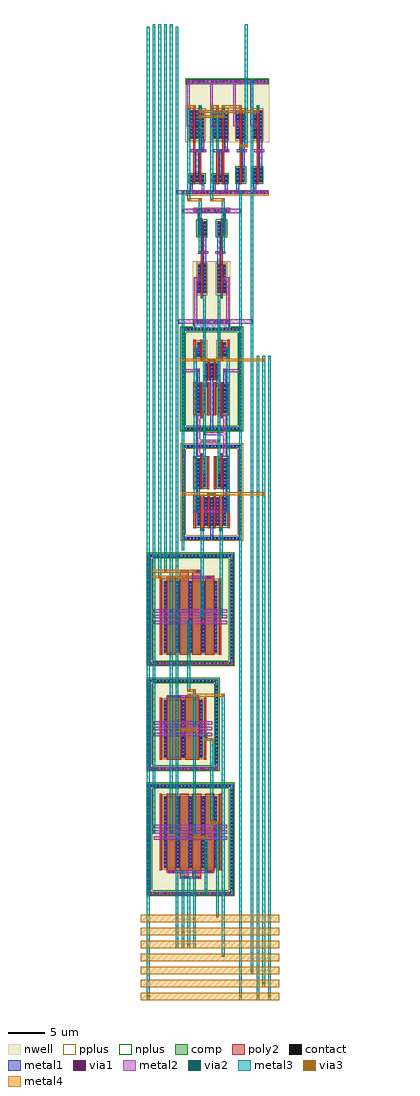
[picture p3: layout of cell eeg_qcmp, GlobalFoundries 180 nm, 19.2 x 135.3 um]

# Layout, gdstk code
from math import pi, radians
import gdstk
lib = gdstk.Library(unit=1e-6, precision=1e-09)
def R(c, l, rs):  # rectangles x0, y0, x1, y1
    for r in rs: c.add(gdstk.rectangle(r[:2], r[2:], *l))
def A(c, l, x, y, w, h, nx, ny, dx, dy):  # array of equal rectangles
    R(c, l, [(x+i*dx, y+j*dy, x+i*dx+w, y+j*dy+h) for i in range(nx) for j in range(ny)])
nwell = (21, 0)
comp = (22, 0)
poly2 = (30, 0)
pplus = (31, 0)
nplus = (32, 0)
contact = (33, 0)
metal1 = (34, 0)
via1 = (35, 0)
metal2 = (36, 0)
via2 = (38, 0)
via3 = (40, 0)
metal3 = (42, 0)
metal4 = (46, 0)

qcmp_pa = lib.new_cell('qcmp_pa')
R(qcmp_pa, nwell, [(-0.22,-0.22,12.02,15.56)])
R(qcmp_pa, comp, [(0,0,11.8,0.42), (0,0,0.42,15.34), (11.38,0,11.8,15.34), (2.17,3.67,9.63,13.67), (0,14.92,11.8,15.34)])
R(qcmp_pa, poly2, [(4.39,2.21,5.64,13.97), (6.16,2.21,7.41,13.97), (2.62,3.01,3.87,13.97), (7.93,3.01,9.18,13.97), (1.65,3.37,1.93,13.97), (9.87,3.37,10.15,13.97)])
R(qcmp_pa, pplus, [(1.99,3.43,9.81,13.91)])
R(qcmp_pa, nplus, [(-0.16,-0.16,11.96,0.58), (-0.16,-0.16,0.58,15.5), (11.22,-0.16,11.96,15.5), (-0.16,14.76,11.96,15.5)])
A(qcmp_pa, contact, 0.29, 0.1, 0.22, 0.22, 23, 2, 0.5, 14.92)
A(qcmp_pa, contact, 0.1, 0.81, 0.22, 0.22, 1, 28, 0, 0.5)
A(qcmp_pa, contact, 11.48, 0.81, 0.22, 0.22, 1, 28, 0, 0.5)
A(qcmp_pa, contact, 2.25, 3.81, 0.22, 0.22, 5, 20, 1.77, 0.5)
R(qcmp_pa, contact, [(4.655,2.28,4.875,2.5), (5.155,2.28,5.375,2.5), (6.425,2.28,6.645,2.5), (6.925,2.28,7.145,2.5), (2.885,3.08,3.105,3.3), (3.385,3.08,3.605,3.3), (8.195,3.08,8.415,3.3), (8.695,3.08,8.915,3.3)])
A(qcmp_pa, metal1, 2.17, 3.73, 0.38, 9.88, 5, 1, 1.77, 0)
R(qcmp_pa, metal1, [(0,0,11.8,0.42), (0,0,0.42,15.34), (11.38,0,11.8,15.34), (4.575,2.2,7.225,2.58), (2.805,3,8.995,3.38), (0,14.92,11.8,15.34)])
A(qcmp_pa, via1, 0.27, 0.08, 0.26, 0.26, 14, 1, 0.8, 0)
R(qcmp_pa, via1, [(4.885,2.26,5.145,2.52), (6.655,2.26,6.915,2.52), (3.115,3.06,3.375,3.32), (8.425,3.06,8.685,3.32), (4,7.74,4.26,8), (7.54,7.74,7.8,8), (2.23,8.54,2.49,8.8), (9.31,8.54,9.57,8.8), (5.77,9.34,6.03,9.6)])
A(qcmp_pa, metal2, 0.82, 7.62, 10.16, 0.5, 1, 3, 0, 0.8)
R(qcmp_pa, metal2, [(0,0,11.8,0.42), (4.575,2.2,7.225,2.58), (2.805,3,8.995,3.38)])

qcmp_tail = lib.new_cell('qcmp_tail')
R(qcmp_tail, nwell, [(-0.22,-0.22,9.98,12.76)])
R(qcmp_tail, comp, [(0,0,9.76,0.42), (0,0,0.42,12.54), (9.34,0,9.76,12.54), (2.17,1.67,7.59,9.67), (0,12.12,9.76,12.54)])
R(qcmp_tail, poly2, [(1.65,1.37,1.93,9.97), (2.62,1.37,4.62,10.33), (5.14,1.37,7.14,10.33), (7.83,1.37,8.11,9.97)])
R(qcmp_tail, pplus, [(1.99,1.43,7.77,9.91)])
R(qcmp_tail, nplus, [(-0.16,-0.16,9.92,0.58), (-0.16,-0.16,0.58,12.7), (9.18,-0.16,9.92,12.7), (-0.16,11.96,9.92,12.7)])
A(qcmp_tail, contact, 0.27, 0.1, 0.22, 0.22, 19, 2, 0.5, 12.12)
A(qcmp_tail, contact, 0.1, 0.91, 0.22, 0.22, 1, 22, 0, 0.5)
A(qcmp_tail, contact, 9.44, 0.91, 0.22, 0.22, 1, 22, 0, 0.5)
A(qcmp_tail, contact, 2.25, 1.81, 0.22, 0.22, 3, 16, 2.52, 0.5)
A(qcmp_tail, contact, 2.76, 10.04, 0.22, 0.22, 4, 1, 0.5, 0)
A(qcmp_tail, contact, 5.28, 10.04, 0.22, 0.22, 4, 1, 0.5, 0)
A(qcmp_tail, metal1, 2.17, 1.73, 0.38, 7.88, 3, 1, 2.52, 0)
R(qcmp_tail, metal1, [(0,0,9.76,0.42), (0,0,0.42,12.54), (9.34,0,9.76,12.54), (2.68,9.96,7.08,10.34), (0,12.12,9.76,12.54)])
A(qcmp_tail, via1, 0.27, 0.08, 0.26, 0.26, 12, 1, 0.8, 0)
R(qcmp_tail, via1, [(4.75,4.74,5.01,5), (2.23,5.54,2.49,5.8), (7.27,6.34,7.53,6.6), (3.49,10.02,3.75,10.28), (6.01,10.02,6.27,10.28)])
A(qcmp_tail, metal2, 0.82, 4.62, 8.12, 0.5, 1, 3, 0, 0.8)
R(qcmp_tail, metal2, [(0,0,9.76,0.42), (2.68,9.96,7.08,10.34)])

qcmp_pb = lib.new_cell('qcmp_pb')
R(qcmp_pb, nwell, [(-0.22,-0.22,12.02,15.56)])
R(qcmp_pb, comp, [(0,0,11.8,0.42), (0,0,0.42,15.34), (11.38,0,11.8,15.34), (2.17,1.67,9.63,11.67), (0,14.92,11.8,15.34)])
R(qcmp_pb, poly2, [(1.65,1.37,1.93,11.97), (2.62,1.37,3.87,12.33), (4.39,1.37,5.64,13.13), (6.16,1.37,7.41,13.13), (7.93,1.37,9.18,12.33), (9.87,1.37,10.15,11.97)])
R(qcmp_pb, pplus, [(1.99,1.43,9.81,11.91)])
R(qcmp_pb, nplus, [(-0.16,-0.16,11.96,0.58), (-0.16,-0.16,0.58,15.5), (11.22,-0.16,11.96,15.5), (-0.16,14.76,11.96,15.5)])
A(qcmp_pb, contact, 0.29, 0.1, 0.22, 0.22, 23, 2, 0.5, 14.92)
A(qcmp_pb, contact, 0.1, 0.81, 0.22, 0.22, 1, 28, 0, 0.5)
A(qcmp_pb, contact, 11.48, 0.81, 0.22, 0.22, 1, 28, 0, 0.5)
A(qcmp_pb, contact, 2.25, 1.81, 0.22, 0.22, 5, 20, 1.77, 0.5)
R(qcmp_pb, contact, [(2.885,12.04,3.105,12.26), (3.385,12.04,3.605,12.26), (8.195,12.04,8.415,12.26), (8.695,12.04,8.915,12.26), (4.655,12.84,4.875,13.06), (5.155,12.84,5.375,13.06), (6.425,12.84,6.645,13.06), (6.925,12.84,7.145,13.06)])
A(qcmp_pb, metal1, 2.17, 1.73, 0.38, 9.88, 5, 1, 1.77, 0)
R(qcmp_pb, metal1, [(0,0,11.8,0.42), (0,0,0.42,15.34), (11.38,0,11.8,15.34), (2.805,11.96,8.995,12.34), (4.575,12.76,7.225,13.14), (0,14.92,11.8,15.34)])
A(qcmp_pb, via1, 0.27, 0.08, 0.26, 0.26, 14, 1, 0.8, 0)
R(qcmp_pb, via1, [(4,5.74,4.26,6), (7.54,5.74,7.8,6), (2.23,6.54,2.49,6.8), (9.31,6.54,9.57,6.8), (5.77,7.34,6.03,7.6), (3.115,12.02,3.375,12.28), (8.425,12.02,8.685,12.28), (4.885,12.82,5.145,13.08), (6.655,12.82,6.915,13.08)])
A(qcmp_pb, metal2, 0.82, 5.62, 10.16, 0.5, 1, 3, 0, 0.8)
R(qcmp_pb, metal2, [(0,0,11.8,0.42), (2.805,11.96,8.995,12.34), (4.575,12.76,7.225,13.14)])

eeg_qinv = lib.new_cell('eeg_qinv')
R(eeg_qinv, nwell, [(-0.2,7.25,2.6,16.1)])
R(eeg_qinv, comp, [(0,0,2.4,0.44), (0.45,1.7,1.63,3.7), (0.45,7.7,1.63,11.7), (0,15.46,2.4,15.9)])
R(eeg_qinv, poly2, [(0.9,1.4,1.18,7.7), (0.9,7.4,1.18,12.36), (0.86,12,1.22,12.36)])
R(eeg_qinv, pplus, [(-0.16,-0.16,2.56,0.6), (0.27,7.46,1.81,11.94)])
R(eeg_qinv, nplus, [(0.27,1.46,1.81,3.94), (-0.16,15.3,2.56,16.06)])
A(eeg_qinv, contact, 0.34, 0.14, 0.22, 0.22, 4, 2, 0.5, 15.4)
A(eeg_qinv, contact, 0.53, 1.84, 0.22, 0.22, 1, 4, 0, 0.5)
A(eeg_qinv, contact, 1.33, 1.84, 0.22, 0.22, 1, 4, 0, 0.5)
A(eeg_qinv, contact, 0.53, 7.84, 0.22, 0.22, 1, 8, 0, 0.5)
A(eeg_qinv, contact, 1.33, 7.84, 0.22, 0.22, 1, 8, 0, 0.5)
R(eeg_qinv, contact, [(0.93,12.07,1.15,12.29)])
R(eeg_qinv, metal1, [(0,0,2.4,0.6), (0,0,2.4,0.44), (0.45,0.3,0.83,3.64), (1.25,1.76,1.63,6.25), (1.25,5.85,1.63,11.64), (0.45,7.76,0.83,11.64), (0.85,11.99,1.23,12.37), (0,15.3,2.4,15.9), (0,15.46,2.4,15.9)])
A(eeg_qinv, via1, 0.15, 0.17, 0.26, 0.26, 3, 2, 0.62, 15.3)
R(eeg_qinv, via1, [(1.31,5.92,1.57,6.18), (1.31,5.92,1.57,6.18), (0.51,9.57,0.77,9.83), (0.91,12.05,1.17,12.31)])
R(eeg_qinv, metal2, [(0,0,2.4,0.6), (0.5,5.85,1.9,6.25), (0,9.45,0.83,9.95), (0,9.45,0.4,15.3), (0.85,11.99,1.23,12.37), (0,15.3,2.4,15.9)])

qcmp_latch = lib.new_cell('qcmp_latch')
R(qcmp_latch, nwell, [(-4.4,14.96,4.4,29.57), (-2.6,29.35,2.6,30.25)])
R(qcmp_latch, comp, [(-4.18,0,4.18,0.42), (-4.18,0,-3.76,13.18), (3.76,0,4.18,13.18), (-2.01,1.89,2.01,5.89), (-2.01,7.29,-0.83,11.29), (0.83,7.29,2.01,11.29), (-4.18,12.76,4.18,13.18), (-4.18,15.18,4.18,15.6), (-4.18,15.18,-3.76,29.35), (3.76,15.18,4.18,29.35), (-2.01,17.52,-0.83,21.52), (0.83,17.52,2.01,21.52), (-0.99,22.42,0.99,24.42), (-2.01,25.38,-0.83,27.38), (0.83,25.38,2.01,27.38), (-4.18,28.93,4.18,29.35)])
R(qcmp_latch, poly2, [(-1.56,1.23,-1.06,6.19), (1.06,1.23,1.56,6.19), (-2.53,1.59,-2.25,6.19), (-0.54,1.59,-0.26,6.55), (0.26,1.59,0.54,6.55), (2.25,1.59,2.53,6.19), (-0.58,6.19,-0.22,6.55), (0.22,6.19,0.58,6.55), (-2.53,6.99,-2.25,11.59), (-1.56,6.99,-1.28,11.95), (-0.59,6.99,-0.31,11.59), (0.31,6.99,0.59,11.59), (1.28,6.99,1.56,11.95), (2.25,6.99,2.53,11.59), (-1.6,11.59,-1.24,11.95), (1.24,11.59,1.6,11.95), (-1.6,16.86,-1.24,17.22), (-1.56,16.86,-1.28,21.82), (1.24,16.86,1.6,17.22), (1.28,16.86,1.56,21.82), (-2.53,17.22,-2.25,21.82), (-0.59,17.22,-0.31,21.82), (0.31,17.22,0.59,21.82), (2.25,17.22,2.53,21.82), (-0.54,22.12,-0.26,25.08), (0.26,22.12,0.54,25.08), (-1.6,24.72,-1.24,25.08), (-1.56,24.72,-1.28,27.68), (-0.58,24.72,-0.22,25.08), (0.22,24.72,0.58,25.08), (1.24,24.72,1.6,25.08), (1.28,24.72,1.56,27.68), (-2.53,25.08,-2.25,27.68), (2.25,25.08,2.53,27.68)])
R(qcmp_latch, pplus, [(-4.34,-0.16,4.34,0.58), (-4.34,-0.16,-3.6,13.34), (3.6,-0.16,4.34,13.34), (-4.34,12.6,4.34,13.34), (-2.19,17.28,-0.65,21.76), (0.65,17.28,2.19,21.76), (-1.17,22.18,1.17,24.66), (-2.19,25.14,-0.65,27.62), (0.65,25.14,2.19,27.62)])
R(qcmp_latch, nplus, [(-2.19,1.65,2.19,6.13), (-2.19,7.05,-0.65,11.53), (0.65,7.05,2.19,11.53), (-4.34,15.02,4.34,15.76), (-4.34,15.02,-3.6,29.51), (3.6,15.02,4.34,29.51), (-4.34,28.77,4.34,29.51), (-2.56,29.35,2.56,29.95)])
A(qcmp_latch, contact, -3.86, 0.1, 0.22, 0.22, 16, 2, 0.5, 12.76)
A(qcmp_latch, contact, -4.08, 0.73, 0.22, 0.22, 1, 24, 0, 0.5)
A(qcmp_latch, contact, 3.86, 0.73, 0.22, 0.22, 1, 24, 0, 0.5)
A(qcmp_latch, contact, -1.93, 2.03, 0.22, 0.22, 1, 8, 0, 0.5)
A(qcmp_latch, contact, -0.91, 2.03, 0.22, 0.22, 3, 8, 0.8, 0.5)
A(qcmp_latch, contact, 1.71, 2.03, 0.22, 0.22, 1, 8, 0, 0.5)
A(qcmp_latch, contact, -1.93, 7.43, 0.22, 0.22, 1, 8, 0, 0.5)
A(qcmp_latch, contact, -1.13, 7.43, 0.22, 0.22, 1, 8, 0, 0.5)
A(qcmp_latch, contact, 0.91, 7.43, 0.22, 0.22, 1, 8, 0, 0.5)
A(qcmp_latch, contact, 1.71, 7.43, 0.22, 0.22, 1, 8, 0, 0.5)
A(qcmp_latch, contact, -3.86, 15.28, 0.22, 0.22, 16, 2, 0.5, 13.75)
A(qcmp_latch, contact, -4.08, 15.905, 0.22, 0.22, 1, 26, 0, 0.5)
A(qcmp_latch, contact, 3.86, 15.905, 0.22, 0.22, 1, 26, 0, 0.5)
A(qcmp_latch, contact, -1.93, 17.66, 0.22, 0.22, 1, 8, 0, 0.5)
A(qcmp_latch, contact, -1.13, 17.66, 0.22, 0.22, 1, 8, 0, 0.5)
A(qcmp_latch, contact, 0.91, 17.66, 0.22, 0.22, 1, 8, 0, 0.5)
A(qcmp_latch, contact, 1.71, 17.66, 0.22, 0.22, 1, 8, 0, 0.5)
A(qcmp_latch, contact, -0.91, 22.56, 0.22, 0.22, 3, 4, 0.8, 0.5)
A(qcmp_latch, contact, -1.93, 25.52, 0.22, 0.22, 1, 4, 0, 0.5)
A(qcmp_latch, contact, -1.13, 25.52, 0.22, 0.22, 1, 4, 0, 0.5)
A(qcmp_latch, contact, 0.91, 25.52, 0.22, 0.22, 1, 4, 0, 0.5)
A(qcmp_latch, contact, 1.71, 25.52, 0.22, 0.22, 1, 4, 0, 0.5)
R(qcmp_latch, contact, [(-1.42,1.3,-1.2,1.52), (1.2,1.3,1.42,1.52), (-0.51,6.26,-0.29,6.48), (0.29,6.26,0.51,6.48), (-1.53,11.66,-1.31,11.88), (1.31,11.66,1.53,11.88), (-1.53,16.93,-1.31,17.15), (1.31,16.93,1.53,17.15), (-1.53,24.79,-1.31,25.01), (-0.51,24.79,-0.29,25.01), (0.29,24.79,0.51,25.01), (1.31,24.79,1.53,25.01)])
A(qcmp_latch, metal1, -4.16, 1.31, 0.38, 0.38, 1, 3, 0, 5.09)
A(qcmp_latch, metal1, 3.78, 1.31, 0.38, 0.38, 1, 3, 0, 5.09)
A(qcmp_latch, metal1, -0.99, 1.95, 0.38, 3.88, 3, 1, 0.8, 0)
A(qcmp_latch, metal1, -0.99, 22.48, 0.38, 1.88, 3, 1, 0.8, 0)
A(qcmp_latch, metal1, -1.61, 24.71, 0.38, 0.38, 3, 1, 1.42, 0)
R(qcmp_latch, metal1, [(-4.18,0,4.18,0.42), (-4.18,0,-3.76,13.18), (-0.19,0,0.19,2.15), (3.76,0,4.18,13.18), (-1.5,1.22,-1.12,1.6), (-1.5,1.22,-1.12,1.6), (1.12,1.22,1.5,1.6), (1.12,1.22,1.5,1.6), (-2.01,1.95,-1.63,5.83), (1.63,1.95,2.01,5.83), (-2.01,3.7,-1.63,4.08), (1.63,3.7,2.01,4.08), (-2.01,5.63,-1.63,7.55), (1.63,5.63,2.01,7.55), (-0.59,6.18,0.59,6.56), (-0.19,6.18,0.19,6.56), (-2.01,7.35,-1.63,11.23), (-1.21,7.35,-0.83,11.23), (0.83,7.35,1.21,11.23), (1.63,7.35,2.01,11.23), (-1.21,9.1,-0.83,9.48), (0.83,9.1,1.21,9.48), (-1.61,11.58,-1.23,11.96), (-1.61,11.58,-1.23,11.96), (1.23,11.58,1.61,11.96), (1.23,11.58,1.61,11.96), (-4.18,12.76,4.18,13.18), (-4.18,15.18,4.18,15.6), (-4.18,15.18,-3.76,29.35), (-0.19,15.18,0.19,22.68), (3.76,15.18,4.18,29.35), (-1.61,16.85,-1.23,17.23), (-1.61,16.85,-1.23,17.23), (1.23,16.85,1.61,17.23), (1.23,16.85,1.61,17.23), (-2.01,17.58,-1.63,21.46), (-1.21,17.58,-0.83,21.46), (0.83,17.58,1.21,21.46), (1.63,17.58,2.01,21.46), (-1.21,19.33,-0.83,19.71), (0.83,19.33,1.21,19.71), (-1.21,21.16,-0.61,22.78), (0.61,21.16,1.21,22.78), (-2.01,21.26,-1.63,23.67), (1.63,21.26,2.01,23.67), (-4.16,23.23,-3.78,23.61), (-2.01,23.23,-1.63,23.61), (1.63,23.23,2.01,23.61), (3.78,23.23,4.16,23.61), (-1.61,24.71,1.61,25.09), (-0.59,24.71,0.59,25.09), (-2.01,25.44,-1.63,27.32), (-1.21,25.44,-0.83,27.32), (0.83,25.44,1.21,27.32), (1.63,25.44,2.01,27.32), (-2.01,26.19,-1.63,26.57), (1.63,26.19,2.01,26.57), (-1.21,27.12,-0.83,29.35), (0.83,27.12,1.21,29.35), (-4.18,28.93,4.18,29.35), (-2.4,29.15,2.4,30.25)])
A(qcmp_latch, via1, -4.1, 1.37, 0.26, 0.26, 1, 3, 0, 5.09)
A(qcmp_latch, via1, 3.84, 1.37, 0.26, 0.26, 1, 3, 0, 5.09)
R(qcmp_latch, via1, [(-1.44,1.28,-1.18,1.54), (1.18,1.28,1.44,1.54), (-1.95,3.76,-1.69,4.02), (-0.93,3.76,-0.67,4.02), (0.67,3.76,0.93,4.02), (1.69,3.76,1.95,4.02), (-0.13,6.24,0.13,6.5), (-1.15,9.16,-0.89,9.42), (0.89,9.16,1.15,9.42), (-1.55,11.64,-1.29,11.9), (1.29,11.64,1.55,11.9), (-1.55,16.91,-1.29,17.17), (1.29,16.91,1.55,17.17), (-1.15,19.39,-0.89,19.65), (0.89,19.39,1.15,19.65), (-4.1,23.29,-3.84,23.55), (-1.95,23.29,-1.69,23.55), (1.69,23.29,1.95,23.55), (3.84,23.29,4.1,23.55), (-0.13,24.77,0.13,25.03), (-1.95,26.25,-1.69,26.51), (1.69,26.25,1.95,26.51)])
R(qcmp_latch, metal2, [(-1.5,1.22,-1.12,1.6), (-1.5,1.22,-1.12,1.6), (1.12,1.22,1.5,1.6), (1.12,1.22,1.5,1.6), (-4.16,1.31,-3.78,1.69), (-4.16,1.31,-3.78,1.69), (3.78,1.31,4.16,1.69), (3.78,1.31,4.16,1.69), (-0.99,3.64,0.99,4.14), (-2.49,3.7,-2.11,4.08), (-2.49,3.7,-1.63,4.08), (-2.01,3.7,-1.63,4.08), (1.63,3.7,2.01,4.08), (1.63,3.7,2.49,4.08), (2.11,3.7,2.49,4.08), (-0.19,6.18,0.19,6.56), (-0.19,6.18,0.19,6.56), (-4.16,6.4,-3.78,6.78), (-4.16,6.4,-3.78,6.78), (3.78,6.4,4.16,6.78), (3.78,6.4,4.16,6.78), (-1.21,9.1,-0.83,9.48), (-1.21,9.1,-0.83,9.48), (0.83,9.1,1.21,9.48), (0.83,9.1,1.21,9.48), (-4.16,11.49,-3.78,11.87), (-4.16,11.49,-3.78,11.87), (3.78,11.49,4.16,11.87), (3.78,11.49,4.16,11.87), (-1.99,11.58,-1.23,11.96), (-1.99,11.58,-1.61,17.23), (-1.61,11.58,-1.23,11.96), (1.23,11.58,1.61,11.96), (1.23,11.58,1.99,11.96), (1.61,11.58,1.99,17.23), (-1.99,13.49,1.21,13.87), (0.83,13.49,1.21,13.87), (-1.21,14.49,-0.83,14.87), (-1.21,14.49,1.99,14.87), (-1.99,16.85,-1.23,17.23), (-1.61,16.85,-1.23,17.23), (1.23,16.85,1.61,17.23), (1.23,16.85,1.99,17.23), (-1.21,19.33,-0.83,19.71), (-1.21,19.33,-0.83,19.71), (0.83,19.33,1.21,19.71), (0.83,19.33,1.21,19.71), (-4.16,23.23,-3.78,23.61), (-4.16,23.23,-1.63,23.61), (-2.01,23.23,-1.63,23.61), (1.63,23.23,2.01,23.61), (1.63,23.23,4.16,23.61), (3.78,23.23,4.16,23.61), (-0.19,24.71,0.19,25.09), (-0.19,24.71,0.19,25.09), (-2.49,26.19,-2.11,26.57), (-2.49,26.19,-1.63,26.57), (-2.01,26.19,-1.63,26.57), (1.63,26.19,2.01,26.57), (1.63,26.19,2.49,26.57), (2.11,26.19,2.49,26.57), (-4.6,29.95,-2.4,30.55), (2.4,29.95,4.6,30.55), (4.6,29.95,5.79,30.55), (5.41,30.06,5.79,30.44), (-1.55,33.48,-1.17,33.86), (1.17,33.48,1.55,33.86), (-1.79,39.61,-1.41,39.99), (1.41,39.61,1.79,39.99), (-4.19,45.25,4.19,45.85), (-4.19,45.36,-3.81,45.74), (3.81,45.36,4.19,45.74)])
A(qcmp_latch, via2, -4.1, 1.37, 0.26, 0.26, 1, 3, 0, 5.09)
A(qcmp_latch, via2, 3.84, 1.37, 0.26, 0.26, 1, 3, 0, 5.09)
R(qcmp_latch, via2, [(-2.43,3.76,-2.17,4.02), (2.17,3.76,2.43,4.02), (-0.13,6.24,0.13,6.5), (-1.15,9.16,-0.89,9.42), (0.89,9.16,1.15,9.42), (0.89,13.55,1.15,13.81), (-1.15,14.55,-0.89,14.81), (-1.15,19.39,-0.89,19.65), (0.89,19.39,1.15,19.65), (-0.13,24.77,0.13,25.03), (-2.43,26.25,-2.17,26.51), (2.17,26.25,2.43,26.51), (5.47,30.12,5.73,30.38), (-1.49,33.54,-1.23,33.8), (1.23,33.54,1.49,33.8), (-1.73,39.67,-1.47,39.93), (1.47,39.67,1.73,39.93), (-4.13,45.42,-3.87,45.68), (3.87,45.42,4.13,45.68)])
R(qcmp_latch, via3, [(-0.13,6.24,0.13,6.5), (-0.13,24.77,0.13,25.03)])
A(qcmp_latch, metal3, -4.16, 1.31, 0.38, 0.38, 1, 3, 0, 5.09)
A(qcmp_latch, metal3, 3.78, 1.31, 0.38, 0.38, 1, 3, 0, 5.09)
R(qcmp_latch, metal3, [(-4.19,-1.5,-3.81,45.85), (3.81,-1.5,4.19,45.85), (-2.49,3.7,-2.11,4.08), (-2.49,3.7,-2.11,26.57), (2.11,3.7,2.49,4.08), (2.11,3.7,2.49,26.57), (-0.19,6.18,0.19,6.56), (-0.19,6.18,0.19,6.56), (-1.21,9.1,-0.83,9.48), (-1.21,9.1,-0.83,33.86), (0.83,9.1,1.21,9.48), (0.83,9.1,1.21,33.86), (0.83,13.49,1.21,13.87), (-1.21,14.49,-0.83,14.87), (-1.21,19.33,-0.83,19.71), (0.83,19.33,1.21,19.71), (-0.19,24.71,0.19,25.09), (-0.19,24.71,0.19,25.09), (-2.49,26.19,-2.11,26.57), (2.11,26.19,2.49,26.57), (5.41,30.06,5.79,30.44), (-1.55,33.48,-1.17,33.86), (-1.55,33.48,-0.83,33.86), (0.83,33.48,1.55,33.86), (1.17,33.48,1.55,33.86), (-1.79,39.61,-1.41,39.99), (-1.79,39.61,-1.41,47.35), (1.41,39.61,1.79,39.99), (1.41,39.61,1.79,47.35), (-4.19,45.36,-3.81,45.74), (3.81,45.36,4.19,45.74)])
R(qcmp_latch, metal4, [(-4.19,6.18,4.19,6.56), (-0.19,6.18,0.19,6.56), (-4.19,24.71,4.19,25.09), (-0.19,24.71,0.19,25.09)])
qcmp_latch.add(gdstk.Reference(eeg_qinv, (-2.4,45.85), x_reflection=True))
qcmp_latch.add(gdstk.Reference(eeg_qinv, (2.4,45.85), rotation=pi))

eeg_qnor2 = lib.new_cell('eeg_qnor2')
R(eeg_qnor2, nwell, [(-0.2,7.25,3.4,16.1)])
R(eeg_qnor2, comp, [(0,0,3.2,0.44), (0.45,1.7,2.43,2.7), (0.45,7.7,2.43,11.7), (0,15.46,3.2,15.9)])
R(eeg_qnor2, poly2, [(0.9,1.4,1.18,7.7), (1.7,1.4,1.98,7.7), (0.9,7.4,1.18,12.36), (1.7,7.4,1.98,12.36), (0.86,12,1.22,12.36), (1.66,12,2.02,12.36)])
R(eeg_qnor2, pplus, [(-0.16,-0.16,3.36,0.6), (0.27,7.46,2.61,11.94)])
R(eeg_qnor2, nplus, [(0.27,1.46,2.61,2.94), (-0.16,15.3,3.36,16.06)])
A(eeg_qnor2, contact, 0.24, 0.14, 0.22, 0.22, 6, 2, 0.5, 15.4)
A(eeg_qnor2, contact, 0.53, 1.84, 0.22, 0.22, 3, 2, 0.8, 0.5)
A(eeg_qnor2, contact, 0.53, 7.84, 0.22, 0.22, 3, 8, 0.8, 0.5)
R(eeg_qnor2, contact, [(0.93,12.07,1.15,12.29), (1.73,12.07,1.95,12.29)])
R(eeg_qnor2, metal1, [(0,0,3.2,0.6), (0,0,3.2,0.44), (0.45,0.3,0.83,2.64), (2.05,0.3,2.43,2.64), (1.25,1.76,1.63,6.25), (2.05,5.85,2.43,11.64), (0.45,7.76,0.83,11.64), (1.25,7.76,1.63,11.64), (0.85,11.99,1.23,12.37), (1.65,11.99,2.03,12.37), (0,15.3,3.2,15.9), (0,15.46,3.2,15.9)])
A(eeg_qnor2, via1, 0.15, 0.17, 0.26, 0.26, 4, 2, 0.62, 15.3)
R(eeg_qnor2, via1, [(1.31,5.92,1.57,6.18), (2.11,5.92,2.37,6.18), (0.51,9.57,0.77,9.83), (0.91,12.05,1.17,12.31), (1.71,12.05,1.97,12.31)])
R(eeg_qnor2, metal2, [(0,0,3.2,0.6), (0.5,5.85,2.7,6.25), (0,9.45,0.83,9.95), (0,9.45,0.4,15.3), (0.85,11.99,1.23,12.37), (1.65,11.99,2.03,12.37), (0,15.3,3.2,15.9)])

qcmp_logic = lib.new_cell('qcmp_logic')
qcmp_logic.add(gdstk.Reference(eeg_qnor2, (0,0)))
qcmp_logic.add(gdstk.Reference(eeg_qnor2, (3.2,0)))
qcmp_logic.add(gdstk.Reference(eeg_qinv, (6.4,0)))
qcmp_logic.add(gdstk.Reference(eeg_qinv, (8.8,0)))

eeg_qcmp = lib.new_cell('eeg_qcmp')
R(eeg_qcmp, metal2, [(4.05,23.68,4.43,24.06), (1.65,24.48,2.03,24.86), (1.65,53.56,2.03,53.94), (4.05,54.36,4.43,54.74), (6.45,59.04,6.83,59.42), (7.25,59.84,7.63,60.22), (4.85,112.27,6.4,112.87)])
A(eeg_qcmp, via2, 11.31, 124.32, 0.26, 0.26, 3, 1, 2.4, 0)
R(eeg_qcmp, via2, [(8.91,15.28,9.17,15.54), (6.51,17.46,6.77,17.72), (5.71,18.26,5.97,18.52), (7.31,22.94,7.57,23.2), (4.11,23.74,4.37,24), (1.71,24.54,1.97,24.8), (9.71,32.62,9.97,32.88), (8.91,37.28,9.17,37.54), (5.71,38.08,5.97,38.34), (7.31,38.88,7.57,39.14), (6.51,42.56,6.77,42.82), (6.51,47.16,6.77,47.42), (6.51,52.82,6.77,53.08), (1.71,53.62,1.97,53.88), (8.4,53.62,8.66,53.88), (4.11,54.42,4.37,54.68), (11.02,54.42,11.28,54.68), (6.51,59.1,6.77,59.36), (7.31,59.9,7.57,60.16), (8.4,65.7,8.66,65.96), (11.02,65.7,11.28,65.96), (4.91,112.44,5.17,112.7), (5.71,112.44,5.97,112.7), (13.71,112.44,13.97,112.7), (8.11,118.19,8.37,118.45), (10.51,118.19,10.77,118.45), (13.71,118.19,13.97,118.45), (7.31,124.32,7.57,124.58), (8.11,124.32,8.37,124.58), (10.51,124.32,10.77,124.58), (15.31,127.74,15.57,128)])
A(eeg_qcmp, via3, 6.51, 111.39, 0.26, 0.26, 4, 1, 1.6, 0)
A(eeg_qcmp, via3, 9.71, 124.31, 0.26, 0.26, 3, 1, 0.8, 0)
R(eeg_qcmp, via3, [(0.91,0.97,1.17,1.23), (13.71,0.97,13.97,1.23), (16.11,0.97,16.37,1.23), (17.71,0.97,17.97,1.23), (16.91,2.77,17.17,3.03), (15.31,4.57,15.57,4.83), (11.31,6.67,11.57,6.93), (6.51,8.17,6.77,8.43), (5.71,9.97,5.97,10.23), (4.91,11.77,5.17,12.03), (7.31,11.77,7.57,12.03), (10.51,12.11,10.77,12.37), (7.31,22.99,7.57,23.25), (8.91,22.99,9.17,23.25), (9.71,25.03,9.97,25.29), (10.51,25.03,10.77,25.29), (8.91,36.59,9.17,36.85), (9.71,36.59,9.97,36.85), (5.71,37.95,5.97,38.21), (7.31,37.95,7.57,38.21), (6.51,42.71,6.77,42.97), (11.31,42.71,11.57,42.97), (6.51,43.39,6.77,43.65), (7.31,43.39,7.57,43.65), (2.51,59.1,2.77,59.36), (6.51,59.1,6.77,59.36), (3.31,59.9,3.57,60.16), (7.31,59.9,7.57,60.16), (16.91,70.66,17.17,70.92), (16.91,89.19,17.17,89.45), (13.71,118.87,13.97,119.13), (14.51,118.87,14.77,119.13), (8.11,122.95,8.37,123.21), (11.31,122.95,11.57,123.21), (8.11,123.63,8.37,123.89), (10.51,123.63,10.77,123.89), (16.11,123.63,16.37,123.89), (6.51,124.31,6.77,124.57), (7.31,124.31,7.57,124.57), (13.71,124.31,13.97,124.57)])
A(eeg_qcmp, metal3, 11.25, 6.61, 0.38, 1.06, 1, 53, 0, 0.68)
A(eeg_qcmp, metal3, 10.45, 12.05, 0.38, 1.06, 1, 19, 0, 0.68)
A(eeg_qcmp, metal3, 8.85, 15.45, 0.38, 1.06, 1, 11, 0, 0.68)
A(eeg_qcmp, metal3, 7.25, 22.93, 0.38, 1.06, 1, 22, 0, 0.68)
A(eeg_qcmp, metal3, 9.65, 24.97, 0.38, 1.06, 1, 17, 0, 0.68)
A(eeg_qcmp, metal3, 7.25, 38.57, 0.38, 1.06, 1, 7, 0, 0.68)
A(eeg_qcmp, metal3, 6.45, 43.33, 0.38, 1.06, 1, 14, 0, 0.68)
A(eeg_qcmp, metal3, 6.45, 111.33, 0.38, 0.38, 4, 1, 1.6, 0)
A(eeg_qcmp, metal3, 6.45, 111.33, 0.38, 1.06, 1, 10, 0, 0.68)
A(eeg_qcmp, metal3, 9.65, 111.33, 0.38, 1.06, 1, 10, 0, 0.68)
A(eeg_qcmp, metal3, 6.45, 118.13, 0.38, 1.06, 3, 7, 1.6, 0.68)
A(eeg_qcmp, metal3, 10.45, 118.13, 0.38, 1.06, 1, 7, 0, 0.68)
A(eeg_qcmp, metal3, 14.45, 118.81, 0.38, 1.06, 1, 23, 0, 0.68)
A(eeg_qcmp, metal3, 9.65, 122.89, 0.38, 1.06, 3, 1, 0.8, 0)
A(eeg_qcmp, metal3, 6.45, 123.57, 0.38, 1.06, 4, 1, 1.6, 0)
A(eeg_qcmp, metal3, 9.65, 124.25, 0.38, 0.38, 3, 1, 0.8, 0)
A(eeg_qcmp, metal3, 11.25, 124.25, 0.38, 0.39, 3, 1, 2.4, 0)
A(eeg_qcmp, metal3, 1.65, 134.3, 0.38, 1.6, 4, 1, 0.8, 0)
R(eeg_qcmp, metal3, [(0.85,0.6,1.23,135.5), (13.65,0.6,14.03,63.42), (16.05,0.6,16.43,89.92), (17.65,0.6,18.03,89.92), (16.85,2.4,17.23,89.92), (15.25,4.2,15.63,128.17), (11.25,6.61,11.63,6.99), (4.85,7.8,5.23,18.58), (5.65,7.8,6.03,18.58), (6.45,7.8,6.83,17.78), (7.25,7.8,7.63,18.58), (10.45,12.05,10.83,12.43), (8.85,15.22,9.23,15.83), (4.85,22.68,5.23,135.5), (7.25,22.88,7.63,23.31), (7.25,22.93,7.63,23.31), (8.85,22.93,9.23,23.31), (1.65,23.68,2.03,134.3), (4.05,23.68,4.43,134.3), (4.05,23.68,4.43,24.06), (1.65,24.48,2.03,24.86), (9.65,24.97,10.03,25.35), (10.45,24.97,10.83,25.35), (9.65,32.45,10.03,32.94), (8.85,36.53,9.23,36.91), (8.85,36.53,9.23,37.59), (9.65,36.53,10.03,36.91), (8.85,37.21,9.23,37.6), (5.65,37.89,6.03,38.27), (5.65,37.89,6.03,38.4), (7.25,37.89,7.63,38.27), (7.25,38.57,7.63,39.2), (6.45,42.5,6.83,43.03), (6.45,42.65,6.83,43.03), (11.25,42.65,11.63,43.03), (6.45,43.33,6.83,43.71), (7.25,43.33,7.63,43.71), (6.45,47.1,6.83,47.79), (6.45,52.76,6.83,53.23), (1.65,53.56,2.03,53.94), (8.34,53.56,8.72,66.02), (10.96,53.56,11.34,66.02), (4.05,54.36,4.43,54.74), (2.45,59.04,2.83,134.3), (6.45,59.04,6.83,59.42), (6.45,59.04,6.83,59.42), (3.25,59.84,3.63,134.3), (7.25,59.84,7.63,60.22), (7.25,59.84,7.63,60.22), (5.65,110.07,6.03,112.87), (13.65,110.07,14.03,112.87), (8.05,118.13,8.43,118.51), (10.45,118.13,10.83,118.51), (13.65,118.13,14.03,118.51), (13.65,118.13,14.03,119.19), (13.65,118.81,14.03,119.19), (14.45,118.81,14.83,119.19), (6.45,122.89,6.83,123.95), (8.05,122.89,8.43,123.27), (11.25,122.89,11.63,123.27), (8.05,123.57,8.43,123.95), (10.45,123.57,10.83,123.95), (16.05,123.57,16.43,123.95), (16.05,123.57,16.43,124.63), (6.45,124.25,6.83,124.63), (7.25,124.25,7.63,124.64), (7.25,124.25,7.63,124.63), (8.05,124.25,8.43,124.64), (10.45,124.25,10.83,124.64), (13.65,124.25,14.03,124.63), (14.45,134.3,14.83,135.9)])
A(eeg_qcmp, metal4, 0, 0.6, 19.2, 1, 1, 7, 0, 1.8)
A(eeg_qcmp, metal4, 6.45, 42.65, 1.18, 0.38, 6, 1, 0.8, 0)
A(eeg_qcmp, metal4, 6.45, 111.33, 0.38, 0.38, 4, 1, 1.6, 0)
A(eeg_qcmp, metal4, 8.05, 122.89, 1.18, 0.38, 4, 1, 0.8, 0)
A(eeg_qcmp, metal4, 8.05, 123.57, 1.18, 0.38, 10, 1, 0.8, 0)
A(eeg_qcmp, metal4, 9.65, 124.25, 0.38, 0.38, 3, 1, 0.8, 0)
A(eeg_qcmp, metal4, 11.25, 124.25, 1.18, 0.38, 3, 1, 0.8, 0)
R(eeg_qcmp, metal4, [(11.25,6.61,11.63,6.99), (10.45,12.05,10.83,12.43), (7.25,22.93,7.63,23.31), (7.25,22.93,8.43,23.31), (8.05,22.93,9.23,23.31), (8.85,22.93,9.23,23.31), (9.65,24.97,10.03,25.35), (9.65,24.97,10.83,25.35), (10.45,24.97,10.83,25.35), (8.85,36.53,9.23,36.91), (8.85,36.53,10.03,36.91), (9.65,36.53,10.03,36.91), (5.65,37.89,6.03,38.27), (5.65,37.89,6.83,38.27), (6.45,37.89,7.63,38.27), (7.25,37.89,7.63,38.27), (6.45,42.65,6.83,43.03), (11.25,42.65,11.63,43.03), (6.45,43.33,6.83,43.71), (6.45,43.33,7.63,43.71), (7.25,43.33,7.63,43.71), (1.65,59.04,6.83,59.42), (6.45,59.04,6.83,59.42), (1.65,59.84,7.63,60.22), (7.25,59.84,7.63,60.22), (14.03,70.6,17.23,70.98), (14.03,89.13,17.23,89.51), (6.45,111.33,7.63,111.71), (7.25,111.33,8.43,111.71), (9.65,111.33,10.83,111.71), (10.45,111.33,11.63,111.71), (13.65,118.81,14.03,119.19), (13.65,118.81,14.83,119.19), (14.45,118.81,14.83,119.19), (8.05,122.89,8.43,123.27), (11.25,122.89,11.63,123.27), (8.05,123.57,8.43,123.95), (10.45,123.57,10.83,123.95), (16.05,123.57,16.43,123.95), (6.45,124.25,6.83,124.63), (6.45,124.25,7.63,124.63), (7.25,124.25,7.63,124.63), (9.65,124.25,10.83,124.63), (13.65,124.25,14.03,124.63)])
eeg_qcmp.add(gdstk.Reference(qcmp_pa, (1,15.2)))
eeg_qcmp.add(gdstk.Reference(qcmp_tail, (1,32.54)))
eeg_qcmp.add(gdstk.Reference(qcmp_pb, (1,47.08)))
eeg_qcmp.add(gdstk.Reference(qcmp_latch, (9.84,64.42)))
eeg_qcmp.add(gdstk.Reference(qcmp_logic, (6.4,112.27)))

lib.write_gds('eeg_qcmp.gds')
